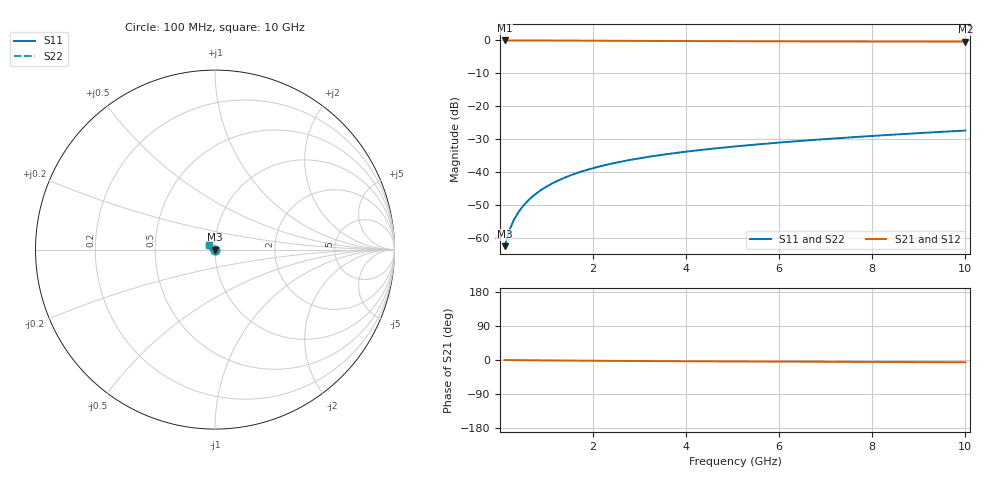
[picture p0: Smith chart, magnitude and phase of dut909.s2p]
! Touchstone file exported from HFSS 2024.1.0
!  File:  C:/UserFiles/LocalFiles/RDL_TSV_Batchsim/temp_TSV1_909_1779945015.aedt
!  Generated:  01:16:05 PM May 28, 2026
!  Design:  TSV1
!  Project:  temp_TSV1_909_1779945015
!  Setup:  Setup1
!  Solution:  Sweep
! Variables:
!  dtsv = 5.76um
!  hbump = 3um
!  htsv = 87.32um
!  lrdl = 252.1521522um
!  p = 40
!  p1 = 51.88um
!  t = 500um
!  trdl = 3um
!  wrdl = 24.89489489um
# GHz S MA R 50.000000
! Terminal data exported
! Port[1] = TSV22_T1
! Port[2] = TSV22_T2
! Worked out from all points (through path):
!   100 points, 100 MHz to 10 GHz, reference 50 ohm
!   highest |S21| = 0.00 dB at 100 MHz (marker M1); lowest = -0.4 dB at 10 GHz (marker M2)
!   lowest |S11| = -62.5 dB at 100 MHz (marker M3), VSWR 1.00, Z = 50 - j0.0619 ohm
!   |S11| at or under -10 dB: start of sweep to end of sweep
!   |S22| runs from -62.5 to -27.4 dB; largest |S21 - S12| = 2.1e-15
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0.1  0.0007503 -55.6  0.9995 -0.1  0.9995 -0.1  0.0007503 -55.6
! Gamma 0 0 0 0
! Port Impedance 50 0 50 0
0.2  0.001299 -74.2  0.9994 -0.2  0.9994 -0.2  0.001299 -74.2
0.3  0.001886 -83.1  0.9993 -0.3  0.9993 -0.3  0.001886 -83.1
0.4  0.002482 -88.8  0.9991 -0.4  0.9991 -0.4  0.002482 -88.8
0.5  0.00308 -93.3  0.9989 -0.6  0.9989 -0.6  0.00308 -93.3
0.6  0.003677 -97.0  0.9986 -0.7  0.9986 -0.7  0.003677 -97.0
0.7  0.004271 -100.3  0.9983 -0.8  0.9983 -0.8  0.004271 -100.3
0.8  0.004862 -103.4  0.9979 -0.9  0.9979 -0.9  0.004862 -103.4
0.9  0.005448 -106.2  0.9975 -1.0  0.9975 -1.0  0.005448 -106.2
1.1  0.006605 -111.6  0.9966 -1.2  0.9966 -1.2  0.006605 -111.6
1.4  0.008293 -119.0  0.995 -1.5  0.995 -1.5  0.008293 -119.0
1.6  0.009383 -123.7  0.9938 -1.6  0.9938 -1.6  0.009383 -123.7
1.8  0.01045 -128.1  0.9925 -1.8  0.9925 -1.8  0.01045 -128.1
2.1  0.01198 -134.4  0.9905 -2.1  0.9905 -2.1  0.01198 -134.4
2.5  0.01393 -142.3  0.9878 -2.4  0.9878 -2.4  0.01393 -142.3
2.9  0.01578 -149.6  0.9851 -2.6  0.9851 -2.6  0.01578 -149.6
3.4  0.01796 -158.0  0.9819 -2.9  0.9819 -2.9  0.01796 -158.0
4.2  0.02124 -169.8  0.9773 -3.4  0.9773 -3.4  0.02124 -169.8
5.1  0.02472 179.0  0.973 -3.8  0.973 -3.8  0.02472 179.0
6.7  0.03067 163.2  0.9673 -4.5  0.9673 -4.5  0.03067 163.2
8.4  0.0369 150.5  0.9632 -5.2  0.9632 -5.2  0.0369 150.5
10  0.04278 141.3  0.9604 -5.9  0.9604 -5.9  0.04278 141.3
